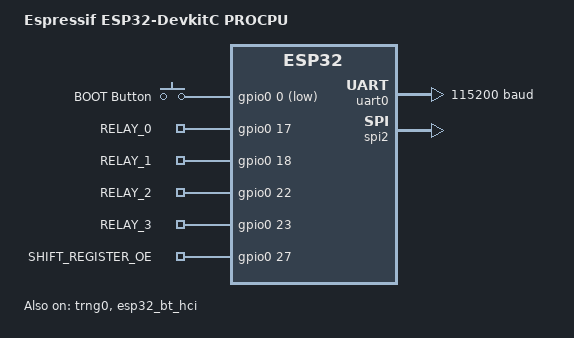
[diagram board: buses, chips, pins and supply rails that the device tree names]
/*
 * Copyright (c) 2023 Espressif Systems (Shanghai) Co., Ltd.
 *
 * SPDX-License-Identifier: Apache-2.0
 */
/dts-v1/;

#include <espressif/esp32/esp32_wroom_32ue_n4.dtsi>
#include "segment_controller-pinctrl.dtsi"
#include <zephyr/dt-bindings/input/input-event-codes.h>
#include <espressif/partitions_0x1000_amp.dtsi>

/ {
	model = "Espressif ESP32-DevkitC PROCPU";
	compatible = "espressif,esp32";

	aliases {
		uart-0 = &uart0;
		sw0 = &button0;
		watchdog0 = &wdt0;
		shift-register-spi = &spi2;
	};

	buttons {
		compatible = "gpio-keys";
		button0: button_0 {
			gpios = <&gpio0 0 (GPIO_PULL_UP | GPIO_ACTIVE_LOW)>;
			label = "BOOT Button";
			zephyr,code = <INPUT_KEY_0>;
		};
	};

	chosen {
		zephyr,sram = &sram1;
		zephyr,console = &uart0;
		zephyr,shell-uart = &uart0;
		zephyr,flash = &flash0;
		zephyr,code-partition = &slot0_partition;
		zephyr,bt-hci = &esp32_bt_hci;
	};

    relays {
    	compatible = "gpio-leds";
    	relay_0: relay_0 {
    		gpios = <&gpio0 17 GPIO_ACTIVE_HIGH>;
    		label = "RELAY_0";
    	};
    	relay_1: relay_1 {
    		gpios = <&gpio0 18 GPIO_ACTIVE_HIGH>;
    		label = "RELAY_1";
    	};
    	relay_2: relay_2 {
    		gpios = <&gpio0 22 GPIO_ACTIVE_HIGH>;
    		label = "RELAY_2";
    	};
    	relay_3: relay_3 {
    		gpios = <&gpio0 23 GPIO_ACTIVE_HIGH>;
    		label = "RELAY_3";
    	};
    	shift_register_oe: shift_register_oe {
            // WHY DOESNT GPIO 33 WORK???
    		gpios = <&gpio0 27 GPIO_ACTIVE_HIGH>;
    		label = "SHIFT_REGISTER_OE";
    	};
    };
};

&uart0 {
	status = "okay";
	current-speed = <115200>;
	pinctrl-0 = <&uart0_default>;
	pinctrl-names = "default";
};

&gpio0 {
	status = "okay";
};

&gpio1 {
	status = "okay";
};

&spi2 {
	#address-cells = <1>;
	#size-cells = <0>;
	status = "okay";
	pinctrl-0 = <&spim2_default>;
	pinctrl-names = "default";
};

&trng0 {
	status = "okay";
};

&esp32_bt_hci {
	status = "okay";
};
